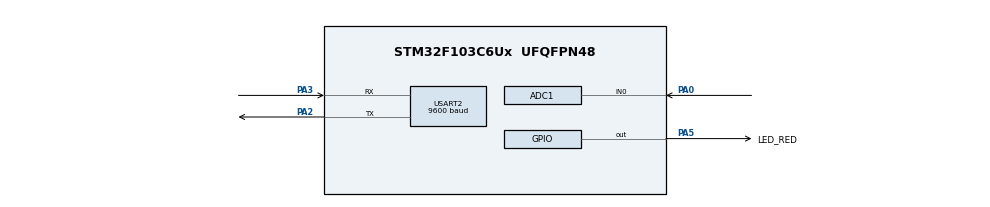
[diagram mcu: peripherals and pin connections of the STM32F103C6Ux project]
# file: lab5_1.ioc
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ADC1.Channel-0\#ChannelRegularConversion=ADC_CHANNEL_0
ADC1.ContinuousConvMode=ENABLE
ADC1.NbrOfConversionFlag=1
ADC1.Rank-0\#ChannelRegularConversion=1
ADC1.SamplingTime-0\#ChannelRegularConversion=ADC_SAMPLETIME_1CYCLE_5
ADC1.master=1
Mcu.Family=STM32F1
Mcu.Name=STM32F103C6Ux
Mcu.Package=UFQFPN48
NVIC.PriorityGroup=NVIC_PRIORITYGROUP_4
NVIC.TIM2_IRQn=true\:0\:0\:false\:false\:true\:true\:true\:true
NVIC.USART2_IRQn=true\:0\:0\:false\:false\:true\:true\:true\:true
PA0-WKUP.Signal=ADCx_IN0
PA2.Mode=Asynchronous
PA2.Signal=USART2_TX
PA3.Mode=Asynchronous
PA3.Signal=USART2_RX
PA5.GPIO_Label=LED_RED
PA5.Signal=GPIO_Output
PA6.Signal=S_TIM3_CH1
ProjectManager.HeapSize=0x200
ProjectManager.StackSize=0x400
ProjectManager.TargetToolchain=STM32CubeIDE
RCC.APB1Freq_Value=8000000
RCC.APB2Freq_Value=8000000
SH.ADCx_IN0.0=ADC1_IN0,IN0
SH.S_TIM3_CH1.0=TIM3_CH1
TIM2.Period=9
TIM2.Prescaler=7999
USART2.BaudRate=9600
USART2.VirtualMode=VM_ASYNC
VP_TIM2_VS_ClockSourceINT.Mode=Internal
board=custom

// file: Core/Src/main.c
/* USER CODE BEGIN Header */
/**
  ******************************************************************************
  * @file           : main.c
  * @brief          : Main program body
  ******************************************************************************
  * @attention
  *
  * Copyright (c) 2022 STMicroelectronics.
  * All rights reserved.
  *
  * This software is licensed under terms that can be found in the LICENSE file
  * in the root directory of this software component.
  * If no LICENSE file comes with this software, it is provided AS-IS.
  *
  ******************************************************************************
  */
/* USER CODE END Header */
#include "main.h"

/* USER CODE BEGIN Includes */
#include "global.h"
#include "command_parser_fsm.h"
#include "uart_communication_fsm.h"
/* USER CODE END Includes */

extern ADC_HandleTypeDef hadc1;

TIM_HandleTypeDef htim2;

extern UART_HandleTypeDef huart2;

void SystemClock_Config(void);
static void MX_GPIO_Init(void);
static void MX_ADC1_Init(void);
static void MX_USART2_UART_Init(void);
static void MX_TIM2_Init(void);

/* USER CODE BEGIN 0 */
void HAL_UART_RxCpltCallback ( UART_HandleTypeDef * huart ){
	if(huart -> Instance == USART2 ){
		buffer[index_buffer++] = temp ;
		if( index_buffer == 30) index_buffer = 0;
		buffer_flag = 1;
		HAL_UART_Transmit (&huart2 , &temp , 1, 50) ;
		HAL_UART_Receive_IT(&huart2 , &temp , 1);
	}
}
/* USER CODE END 0 */

int main(void)
{

  /* MCU Configuration--------------------------------------------------------*/

  /* Reset of all peripherals, Initializes the Flash interface and the Systick. */
  HAL_Init();

  /* Configure the system clock */
  SystemClock_Config();

  /* Initialize all configured peripherals */
  MX_GPIO_Init();
  MX_ADC1_Init();
  MX_USART2_UART_Init();
  MX_TIM2_Init();
  /* USER CODE BEGIN 2 */
  //HAL_UART_Init(&huart2);
  HAL_ADC_Start(&hadc1);
  HAL_TIM_Base_Start_IT(&htim2);
  status = INIT;
  status1 = RECEIVE;
  HAL_UART_Receive_IT (&huart2, &temp, 1);
  setTimer2(1000);
  /* USER CODE END 2 */

  /* Infinite loop */
  /* USER CODE BEGIN WHILE */
  while (1)
  {
	  if (timer2_flag == 1) {
		  HAL_GPIO_TogglePin(LED_RED_GPIO_Port, LED_RED_Pin);
		  setTimer2(1000);
	  }
	  if( buffer_flag == 1){
		  //command_parser_fsm();
		  command_parser_fsm ();
	  	  buffer_flag = 0;
	  }
	  uart_communiation_fsm ();
    /* USER CODE END WHILE */

  }
}

void SystemClock_Config(void)
{
  RCC_OscInitTypeDef RCC_OscInitStruct = {0};
  RCC_ClkInitTypeDef RCC_ClkInitStruct = {0};
  RCC_PeriphCLKInitTypeDef PeriphClkInit = {0};

  /** Initializes the RCC Oscillators according to the specified parameters
  * in the RCC_OscInitTypeDef structure.
  */
  RCC_OscInitStruct.OscillatorType = RCC_OSCILLATORTYPE_HSI;
  RCC_OscInitStruct.HSIState = RCC_HSI_ON;
  RCC_OscInitStruct.HSICalibrationValue = RCC_HSICALIBRATION_DEFAULT;
  RCC_OscInitStruct.PLL.PLLState = RCC_PLL_NONE;
  if (HAL_RCC_OscConfig(&RCC_OscInitStruct) != HAL_OK)
  {
    Error_Handler();
  }

  /** Initializes the CPU, AHB and APB buses clocks
  */
  RCC_ClkInitStruct.ClockType = RCC_CLOCKTYPE_HCLK|RCC_CLOCKTYPE_SYSCLK
                              |RCC_CLOCKTYPE_PCLK1|RCC_CLOCKTYPE_PCLK2;
  RCC_ClkInitStruct.SYSCLKSource = RCC_SYSCLKSOURCE_HSI;
  RCC_ClkInitStruct.AHBCLKDivider = RCC_SYSCLK_DIV1;
  RCC_ClkInitStruct.APB1CLKDivider = RCC_HCLK_DIV1;
  RCC_ClkInitStruct.APB2CLKDivider = RCC_HCLK_DIV1;

  if (HAL_RCC_ClockConfig(&RCC_ClkInitStruct, FLASH_LATENCY_0) != HAL_OK)
  {
    Error_Handler();
  }
  PeriphClkInit.PeriphClockSelection = RCC_PERIPHCLK_ADC;
  PeriphClkInit.AdcClockSelection = RCC_ADCPCLK2_DIV2;
  if (HAL_RCCEx_PeriphCLKConfig(&PeriphClkInit) != HAL_OK)
  {
    Error_Handler();
  }
}

static void MX_ADC1_Init(void)
{

  ADC_ChannelConfTypeDef sConfig = {0};

  /** Common config
  */
  hadc1.Instance = ADC1;
  hadc1.Init.ScanConvMode = ADC_SCAN_DISABLE;
  hadc1.Init.ContinuousConvMode = ENABLE;
  hadc1.Init.DiscontinuousConvMode = DISABLE;
  hadc1.Init.ExternalTrigConv = ADC_SOFTWARE_START;
  hadc1.Init.DataAlign = ADC_DATAALIGN_RIGHT;
  hadc1.Init.NbrOfConversion = 1;
  if (HAL_ADC_Init(&hadc1) != HAL_OK)
  {
    Error_Handler();
  }

  /** Configure Regular Channel
  */
  sConfig.Channel = ADC_CHANNEL_0;
  sConfig.Rank = ADC_REGULAR_RANK_1;
  sConfig.SamplingTime = ADC_SAMPLETIME_1CYCLE_5;
  if (HAL_ADC_ConfigChannel(&hadc1, &sConfig) != HAL_OK)
  {
    Error_Handler();
  }

}

static void MX_TIM2_Init(void)
{

  TIM_ClockConfigTypeDef sClockSourceConfig = {0};
  TIM_MasterConfigTypeDef sMasterConfig = {0};

  htim2.Instance = TIM2;
  htim2.Init.Prescaler = 7999;
  htim2.Init.CounterMode = TIM_COUNTERMODE_UP;
  htim2.Init.Period = 9;
  htim2.Init.ClockDivision = TIM_CLOCKDIVISION_DIV1;
  htim2.Init.AutoReloadPreload = TIM_AUTORELOAD_PRELOAD_DISABLE;
  if (HAL_TIM_Base_Init(&htim2) != HAL_OK)
  {
    Error_Handler();
  }
  sClockSourceConfig.ClockSource = TIM_CLOCKSOURCE_INTERNAL;
  if (HAL_TIM_ConfigClockSource(&htim2, &sClockSourceConfig) != HAL_OK)
  {
    Error_Handler();
  }
  sMasterConfig.MasterOutputTrigger = TIM_TRGO_RESET;
  sMasterConfig.MasterSlaveMode = TIM_MASTERSLAVEMODE_DISABLE;
  if (HAL_TIMEx_MasterConfigSynchronization(&htim2, &sMasterConfig) != HAL_OK)
  {
    Error_Handler();
  }

}

static void MX_USART2_UART_Init(void)
{

  huart2.Instance = USART2;
  huart2.Init.BaudRate = 9600;
  huart2.Init.WordLength = UART_WORDLENGTH_8B;
  huart2.Init.StopBits = UART_STOPBITS_1;
  huart2.Init.Parity = UART_PARITY_NONE;
  huart2.Init.Mode = UART_MODE_TX_RX;
  huart2.Init.HwFlowCtl = UART_HWCONTROL_NONE;
  huart2.Init.OverSampling = UART_OVERSAMPLING_16;
  if (HAL_UART_Init(&huart2) != HAL_OK)
  {
    Error_Handler();
  }

}

static void MX_GPIO_Init(void)
{
  GPIO_InitTypeDef GPIO_InitStruct = {0};

  /* GPIO Ports Clock Enable */
  __HAL_RCC_GPIOA_CLK_ENABLE();

  /*Configure GPIO pin Output Level */
  HAL_GPIO_WritePin(LED_RED_GPIO_Port, LED_RED_Pin, GPIO_PIN_RESET);

  /*Configure GPIO pin : LED_RED_Pin */
  GPIO_InitStruct.Pin = LED_RED_Pin;
  GPIO_InitStruct.Mode = GPIO_MODE_OUTPUT_PP;
  GPIO_InitStruct.Pull = GPIO_NOPULL;
  GPIO_InitStruct.Speed = GPIO_SPEED_FREQ_LOW;
  HAL_GPIO_Init(LED_RED_GPIO_Port, &GPIO_InitStruct);

  /*Configure GPIO pin : PA6 */
  GPIO_InitStruct.Pin = GPIO_PIN_6;
  GPIO_InitStruct.Mode = GPIO_MODE_AF_PP;
  GPIO_InitStruct.Speed = GPIO_SPEED_FREQ_LOW;
  HAL_GPIO_Init(GPIOA, &GPIO_InitStruct);

}

/* USER CODE BEGIN 4 */
void HAL_TIM_PeriodElapsedCallback (TIM_HandleTypeDef * htim );
/* USER CODE END 4 */

void Error_Handler(void)
{
  __disable_irq();
  while (1)
  {
  }
}
